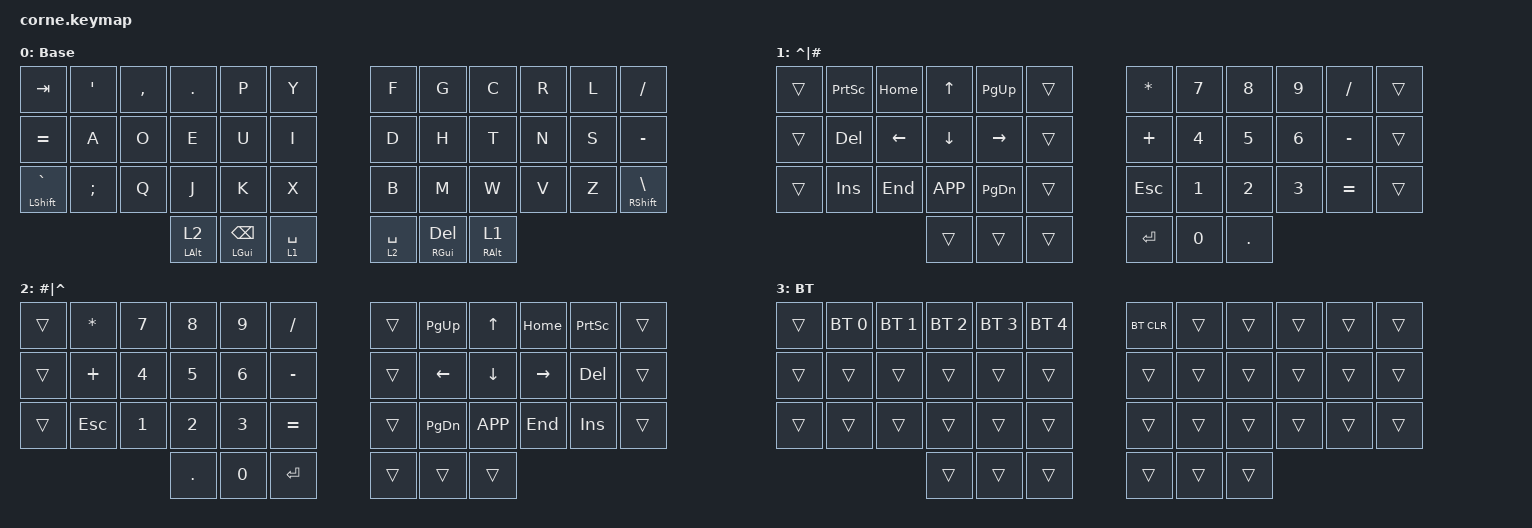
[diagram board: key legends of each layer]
/*
 * Copyright (c) 2020 The ZMK Contributors
 *
 * SPDX-License-Identifier: MIT
 */

#include <behaviors.dtsi>
#include <dt-bindings/zmk/bt.h>
#include <dt-bindings/zmk/keys.h>

/ {
    combos {
        compatible = "zmk,combos";

        Num_1 {
            bindings = <&kp N1>;
            key-positions = <16 4>;
        };

        Num_2 {
            bindings = <&kp N2>;
            key-positions = <7 19>;
        };

        Num_3 {
            bindings = <&kp N3>;
            key-positions = <3 15>;
        };

        Num_4 {
            bindings = <&kp N4>;
            key-positions = <8 20>;
        };

        Num_5 {
            bindings = <&kp NUMBER_5>;
            key-positions = <2 14>;
        };

        Num_6 {
            bindings = <&kp N6>;
            key-positions = <9 21>;
        };

        Num_7 {
            bindings = <&kp NUMBER_7>;
            key-positions = <1 13>;
        };

        Num_8 {
            bindings = <&kp NUMBER_8>;
            key-positions = <10 22>;
        };

        Num_9 {
            bindings = <&kp NUMBER_9>;
            key-positions = <5 17>;
        };

        Num_0 {
            bindings = <&kp N0>;
            key-positions = <6 18>;
        };

        fun_1 {
            bindings = <&kp F1>;
            key-positions = <16 28>;
        };

        fun_2 {
            bindings = <&kp F2>;
            key-positions = <19 31>;
        };

        fun_3 {
            bindings = <&kp F3>;
            key-positions = <15 27>;
        };

        fun_4 {
            bindings = <&kp F4>;
            key-positions = <20 32>;
        };

        fun_5 {
            bindings = <&kp F5>;
            key-positions = <14 26>;
        };

        fun_6 {
            bindings = <&kp F6>;
            key-positions = <21 33>;
        };

        fun_7 {
            bindings = <&kp F7>;
            key-positions = <13 25>;
        };

        fun_8 {
            bindings = <&kp F8>;
            key-positions = <22 34>;
        };

        fun_9 {
            bindings = <&kp F9>;
            key-positions = <17 29>;
        };

        fun_10 {
            bindings = <&kp F10>;
            key-positions = <18 30>;
        };

        fun_11 {
            bindings = <&kp F11>;
            key-positions = <12 24>;
        };

        fun_12 {
            bindings = <&kp F12>;
            key-positions = <23 35>;
        };

        combo_lbrck {
            bindings = <&kp LEFT_BRACKET>;
            key-positions = <0 12>;
        };

        combo_rbrckt {
            bindings = <&kp RIGHT_BRACKET>;
            key-positions = <11 23>;
        };

        combo_return {
            bindings = <&kp RETURN>;
            key-positions = <38 39>;
        };

        combo_lgui {
            bindings = <&kp LEFT_CONTROL>;
            key-positions = <24 25>;
        };

        combo_rgui {
            bindings = <&kp RCTRL>;
            key-positions = <34 35>;
        };

        combo_esc {
            bindings = <&kp ESCAPE>;
            key-positions = <0 1>;
        };

        combo_copy {
            bindings = <&kp LG(C)>;
            key-positions = <2 3 4>;
        };

        combo_cut {
            bindings = <&kp LG(X)>;
            key-positions = <2 3>;
        };

        combo_paste {
            bindings = <&kp LG(V)>;
            key-positions = <2 4>;
        };

        combo_caps {
            bindings = <&kp CAPSLOCK>;
            key-positions = <24 35>;
        };

        combo_bt {
            bindings = <&mo 3>;
            key-positions = <0 11>;
        };
    };

    behaviors {
        mod_tog: mod_tog {
            compatible = "zmk,behavior-hold-tap";
            label = "MOD_TOG";
            bindings = <&kp>, <&tog>;

            #binding-cells = <2>;
            tapping-term-ms = <175>;
            quick-tap-ms = <150>;
        };
    };

    keymap {
        compatible = "zmk,keymap";

        Base {
            bindings = <
&kp TAB               &kp APOS  &kp COMMA  &kp DOT          &kp P                   &kp Y          &kp F        &kp G                 &kp C            &kp R  &kp L  &kp SLASH
&kp EQUAL             &kp A     &kp O      &kp E            &kp U                   &kp I          &kp D        &kp H                 &kp T            &kp N  &kp S  &kp MINUS
&mt LEFT_SHIFT GRAVE  &kp SEMI  &kp Q      &kp J            &kp K                   &kp X          &kp B        &kp M                 &kp W            &kp V  &kp Z  &mt RIGHT_SHIFT BACKSLASH
                                           &mod_tog LALT 2  &mt LEFT_GUI BACKSPACE  &lt 1 SPACE    &lt 2 SPACE  &mt RIGHT_GUI DELETE  &mod_tog RALT 1
            >;
        };

        Nav-Num {
            bindings = <
&trans  &kp PRINTSCREEN  &kp HOME  &kp UP_ARROW  &kp PAGE_UP    &trans    &kp ASTERISK  &kp N7  &kp N8   &kp N9  &kp FSLH   &trans
&trans  &kp DELETE       &kp LEFT  &kp DOWN      &kp RIGHT      &trans    &kp PLUS      &kp N4  &kp N5   &kp N6  &kp MINUS  &trans
&trans  &kp INS          &kp END   &kp K_APP     &kp PAGE_DOWN  &trans    &kp ESC       &kp N1  &kp N2   &kp N3  &kp EQUAL  &trans
                                   &trans        &trans         &trans    &kp RET       &kp N0  &kp DOT
            >;

            label = "^|#";
        };

        Num-Nav {
            bindings = <
&trans  &kp ASTERISK  &kp N7  &kp N8   &kp N9  &kp FSLH     &trans  &kp PAGE_UP    &kp UP_ARROW  &kp HOME   &kp PRINTSCREEN  &trans
&trans  &kp PLUS      &kp N4  &kp N5   &kp N6  &kp MINUS    &trans  &kp LEFT       &kp DOWN      &kp RIGHT  &kp DELETE       &trans
&trans  &kp ESC       &kp N1  &kp N2   &kp N3  &kp EQUAL    &trans  &kp PAGE_DOWN  &kp K_APP     &kp END    &kp INS          &trans
                              &kp DOT  &kp N0  &kp RET      &trans  &trans         &trans
            >;

            label = "#|^";
        };

        Bluetooth {
            bindings = <
&trans  &bt BT_SEL 0  &bt BT_SEL 1  &bt BT_SEL 2  &bt BT_SEL 3  &bt BT_SEL 4    &bt BT_CLR  &trans  &trans  &trans  &trans  &trans
&trans  &trans        &trans        &trans        &trans        &trans          &trans      &trans  &trans  &trans  &trans  &trans
&trans  &trans        &trans        &trans        &trans        &trans          &trans      &trans  &trans  &trans  &trans  &trans
                                    &trans        &trans        &trans          &trans      &trans  &trans
            >;

            label = "BT";
        };
    };
};
